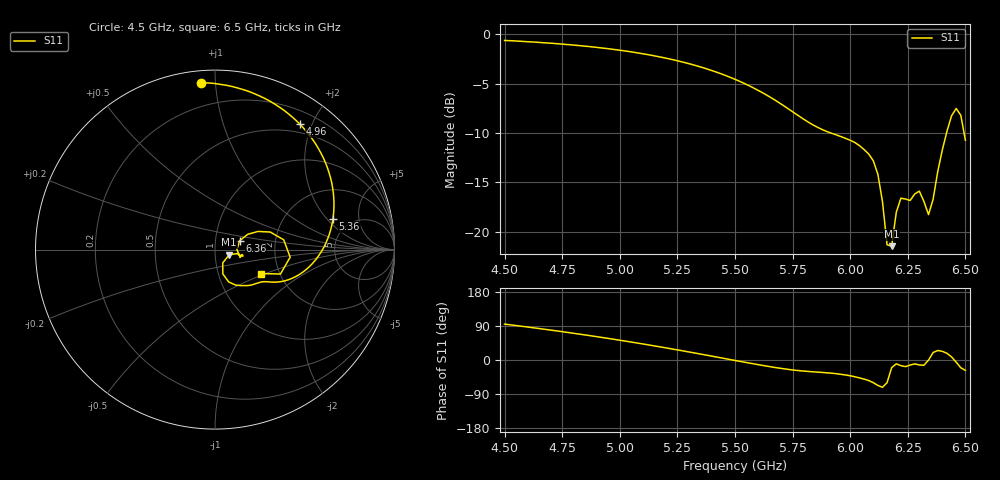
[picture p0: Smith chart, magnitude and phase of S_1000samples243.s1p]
! TOUCHSTONE file generated by CST MICROWAVE STUDIO
! Date and time: Thu Oct 27 12:10:19 2022
! Project name: L.cst
! Parameters = {Di=1.27; Epsilon_r=1.56; InnerDiameter=1.27; Length=2; Lf=10; Lg=60; OuterConductorThickness=0.2921; OuterDiameter=3.6; Wf=3; Wp=41.2; de=1.5; df=6.8; g=0.8; gx=4.10561; gy=4.67991; h=2.34; hf=1.524; px=14.9076; py=14.5614; w=9.7; wx=10.802; wy=9.88148}
! Header version: 2018
! Port assignment regex: !\s*Touchstone port\s*([0-9]+)\s*=\s*(CST MWS port|CST DS port)\s*([0-9]+|Zmin|Zmax)\s*\(\"(.*)\"\)(\s*mode\s*([0-9]+))?.*
! Touchstone port assignment:
! Touchstone port 1 = CST MWS port 1 ("")
# GHz S DB R 50
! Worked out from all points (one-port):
!   101 points, 4.5 GHz to 6.5 GHz, reference 50 ohm
!   lowest |S11| = -21.5 dB at 6.18 GHz (marker M1), VSWR 1.18, Z = 58.5 - j3.4 ohm
!   |S11| at or under -10 dB: 5.916 GHz to 6.418 GHz (502 MHz wide, 8.14 % of centre); 6.494247 GHz to end of sweep
!   S11 on the Smith chart (normalised r, x): 4.5 GHz: 0.06, +0.92; 4.96 GHz: 0.37, +1.82; 5.36 GHz: 3.67, +2.33; 6.36 GHz: 1.31, +0.13; 6.5 GHz: 1.61, -0.47
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4.5  -0.61 94.7
4.76  -1.00 73.9
4.96  -1.47 56.0
5  -1.60 52.2
5.14  -2.12 38.2
5.26  -2.72 25.6
5.36  -3.36 14.6
5.5  -4.55 -1.2
5.64  -6.19 -16.4
5.76  -8.00 -26.9
6  -10.74 -41.6
6.1  -12.80 -59.8
6.12  -14.18 -67.1
6.14  -16.94 -72.1
6.16  -21.35 -59.8
6.18  -21.49 -20.1
6.2  -18.06 -10.1
6.22  -16.61 -14.9
6.26  -16.85 -13.4
6.3  -15.90 -13.0
6.34  -18.29 -0.2
6.36  -16.72 19.8
6.4  -11.70 22.9
6.42  -9.82 17.7
6.44  -8.25 8.1
6.46  -7.51 -5.8
6.48  -8.20 -20.5
6.5  -10.73 -27.3
